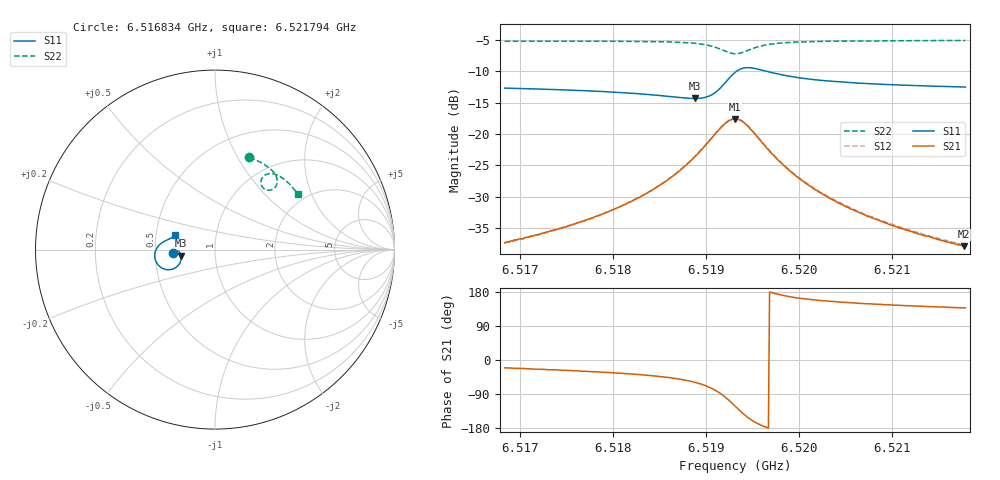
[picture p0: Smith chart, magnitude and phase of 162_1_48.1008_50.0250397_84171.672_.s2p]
#  HZ  S  RI  R  50.00
! Rohde & Schwarz Vector Network Analyzer
! Rohde-Schwarz,ZNB20-2Port,1311601062101988,3.16
! Created: UTC 12/23/2023, 3:50:50 AM
! freq[Hz]  re:S11  im:S11  re:S21  im:S21  re:S12  im:S12  re:S22  im:S22
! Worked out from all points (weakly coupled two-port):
!   401 points, 6.516834 GHz to 6.521794 GHz, reference 50 ohm
!   highest |S21| = -17.59 dB at 6.519314 GHz (marker M1); lowest = -37.9 dB at 6.521782 GHz (marker M2)
!   lowest |S11| = -14.3 dB at 6.51888 GHz (marker M3), VSWR 1.48, Z = 34 - j2.44 ohm
!   |S11| at or under -10 dB: start of sweep to 6.519331 GHz; 6.519652 GHz to end of sweep
!   |S22| runs from -7.2 to -5.1 dB; largest |S21 - S12| = 0.0041
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6.5168337e9  -0.2314 -0.0202  0.0127 -0.00482  0.0128 -0.00442  0.1914 0.5135
6.5172182e9  -0.2274 -0.0144  0.0146 -0.00664  0.0147 -0.00614  0.2199 0.5023
6.5176646e9  -0.2216 -0.00878  0.0174 -0.00989  0.0178 -0.00929  0.2531 0.4867
6.5181482e9  -0.2124 -0.00598  0.0225 -0.0164  0.0232 -0.0158  0.2892 0.4646
6.5184955e9  -0.2027 -0.00979  0.0282 -0.0266  0.0291 -0.0257  0.3161 0.4427
6.5187187e9  -0.1944 -0.0193  0.0325 -0.0395  0.0339 -0.0386  0.3333 0.4223
6.5188799e9  -0.1889 -0.0345  0.0341 -0.0562  0.0361 -0.0553  0.3438 0.401
6.5189915e9  -0.1886 -0.0531  0.0311 -0.0744  0.0335 -0.0738  0.3469 0.3802
6.5190783e9  -0.195 -0.0737  0.0221 -0.0931  0.0251 -0.0931  0.3429 0.3603
6.5192147e9  -0.2355 -0.1083  -0.0195 -0.1209  -0.0159 -0.1222  0.3121 0.3323
6.5193139e9  -0.2909 -0.1052  -0.069 -0.1125  -0.0662 -0.1153  0.2744 0.3385
6.5193635e9  -0.3148 -0.0876  -0.0885 -0.0945  -0.0862 -0.0978  0.2611 0.3538
6.5194255e9  -0.3321 -0.0573  -0.1005 -0.0665  -0.0994 -0.0699  0.2558 0.3766
6.5195371e9  -0.3315 -0.00887  -0.0949 -0.0252  -0.095 -0.0281  0.2697 0.4081
6.5196487e9  -0.316 0.0196  -0.0784 -0.00353  -0.079 -0.00591  0.2923 0.4211
6.5198843e9  -0.2865 0.0439  -0.0512 0.0111  -0.052 0.00967  0.3308 0.4211
6.5201448e9  -0.2669 0.0534  -0.035 0.0132  -0.0357 0.0125  0.3597 0.4092
6.5204796e9  -0.2519 0.06  -0.024 0.0126  -0.0247 0.0121  0.3869 0.3907
6.5209756e9  -0.2382 0.0674  -0.0157 0.0107  -0.0163 0.0105  0.4187 0.3616
6.5213476e9  -0.2307 0.0727  -0.0121 0.00965  -0.0127 0.00949  0.4391 0.3391
6.5217817e9  -0.2234 0.0786  -0.00948 0.00859  -0.00986 0.00861  0.4603 0.3123
6.5217941e9  -0.2232 0.0788  -0.00944 0.00864  -0.00981 0.00849  0.4607 0.3115
